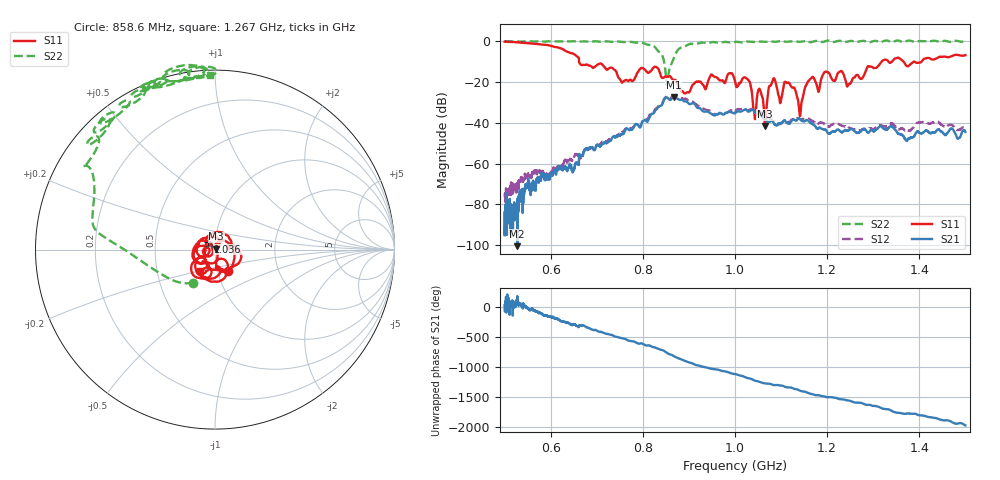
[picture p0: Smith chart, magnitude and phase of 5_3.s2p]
!Agilent Technologies,E8364B,US42250235,A.06.04.32
!Agilent E8364B: A.06.04.32
!Date: Thursday, October 01, 2020 16:02:00
!Correction: S11(Full 2 Port(1,2)) S21(Full 2 Port(1,2)) S12(Full 2 Port(1,2)) S22(Full 2 Port(1,2))
!S2P File: Measurements: S11, S21, S12, S22:
# Hz S  dB  R 50
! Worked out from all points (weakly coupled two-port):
!   2650 points, 500 MHz to 1.5 GHz, reference 50 ohm
!   highest |S21| = -27.43 dB at 866.9 MHz (marker M1); lowest = -100.4 dB at 527.6 MHz (marker M2)
!   lowest |S11| = -41.6 dB at 1.065 GHz (marker M3), VSWR 1.02, Z = 50.7 + j0.479 ohm
!   |S11| at or under -10 dB: 661.5 MHz to 1.318 GHz (656.7 MHz wide, 66.3 % of centre); 1.366 GHz to 1.388 GHz (22.11 MHz wide, 1.61 % of centre); 1.39 GHz to 1.405 GHz (15 MHz wide, 1.07 % of centre) (the widest 3 of 4)
!   |S22| runs from -21.3 to 0.4 dB; largest |S21 - S12| = 0.016
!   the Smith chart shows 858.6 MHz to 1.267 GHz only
!   S11 on the Smith chart (normalised r, x): 858.6 MHz: 1.12, -0.27; 1.036 GHz: 0.93, +0.08; 1.267 GHz: 0.82, -0.20
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5e8  -0.21 -175.2  -95.03 35.4  -76.34 104.9  0.05 143.7
5.275576e8  -0.46 169.1  -100.43 -172.9  -71.14 70.9  -0.01 142.7
6.007928e8  -2.25 118.8  -64.78 -161.1  -64.09 -95.9  -0.03 130.4
6.668554e8  -11.64 73.2  -55.95 55.8  -56.31 79.6  -0.04 124.4
7.567006e8  -19.87 61.7  -45.61 -160.5  -44.50 -148.9  -0.38 109.7
7.955832e8  -13.28 64.5  -41.78 118.2  -41.18 131.3  -0.59 98.1
8.337108e8  -13.56 -17.9  -32.30 26.8  -31.77 42.3  -4.92 53.7
8.586259e8  -17.12 -59.1  -28.73 -65.7  -27.88 -47.8  -13.16 -123.3
8.669309e8  -18.94 -86.7  -27.43 -93.2  -27.12 -75.1  -8.42 -165.8
9.209136e8  -19.64 48.2  -32.77 108.4  -31.64 126.2  -0.95 136.2
1.000189e9  -19.62 -153.4  -35.28 -34.0  -34.65 -10.2  -0.32 120.2
1.036429e9  -24.79 129.5  -33.68 -119.2  -33.20 -97.3  -0.34 117.3
1.042846e9  -37.21 170.8  -34.53 -143.3  -33.62 -117.7  -0.28 113.5
1.054549e9  -23.92 179.5  -35.77 -169.8  -34.55 -146.3  -0.14 115.0
1.065119e9  -41.64 34.8  -38.15 172.4  -36.56 -168.4  -0.31 111.1
1.082861e9  -18.51 -144.8  -39.54 143.3  -39.16 160.8  -0.18 113.7
1.118724e9  -20.93 134.4  -40.22 103.2  -39.48 126.9  -0.14 108.1
1.141374e9  -36.54 70.5  -38.21 47.5  -38.21 77.2  -0.28 107.0
1.166667e9  -17.74 -39.9  -40.25 -8.1  -38.79 21.0  -0.34 101.1
1.267459e9  -16.82 -125.6  -44.81 -152.3  -43.51 -126.7  -0.24 91.6
1.333522e9  -10.11 -156.1  -42.33 95.6  -41.14 123.3  0.11 97.7
1.5e9  -6.78 139.2  -44.43 -172.0  -42.59 -173.4  0.27 72.0
